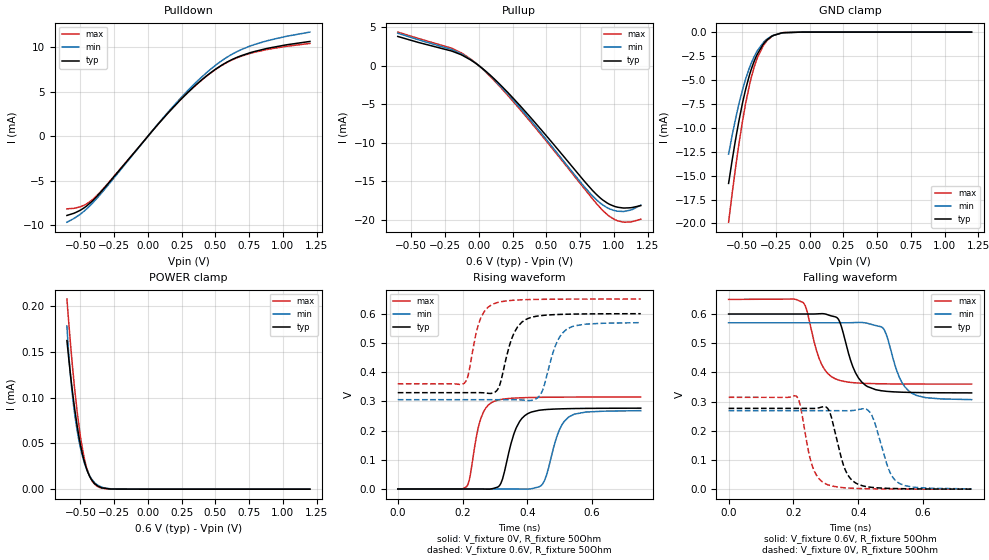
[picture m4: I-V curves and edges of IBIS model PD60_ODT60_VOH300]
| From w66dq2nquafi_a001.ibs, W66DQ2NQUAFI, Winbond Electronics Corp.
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[Model]   PD60_ODT60_VOH300
Model_type   I/O
Polarity   Non-Inverting
Enable   Active-Low
Vinl = 0.08
Vinh = 0.22
Vmeas = 0.15
Vref = 0
Cref = 0pF
Rref = 60
|   typ   min   max
C_comp   1.15pF   1.05pF   1.25pF
[Voltage Range]   0.6   0.57   0.65
[Temperature Range]   25   95   -40
[Pullup Reference]   0.6   0.57   0.65
[Pulldown Reference]   0   0   0
[Power Clamp Reference]   0.6   0.57   0.65
[GND Clamp Reference]   0   0   0
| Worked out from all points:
|   slope of the pulldown table from 0 to 0.09 V, typ, clamps not added: 56.1 ohm
|   slope of the pullup table from 0 to 0.09 V, typ, clamps not added: 67.8 ohm
|   GND clamp passes 1 mA (typ) near -0.33 V on its own axis
|   falling waveform, V_fixture 0.6V, R_fixture 50Ohm: 20-80 % time 48.4ps typ, 48.2ps min, 46ps max; typ from 0.6 V to 0.33 V
|   rising waveform, V_fixture 0V, R_fixture 50Ohm: 20-80 % time 43ps typ, 43.5ps min, 34.1ps max; typ from 0 V to 0.277 V
|   rising waveform, V_fixture 0.6V, R_fixture 50Ohm: 20-80 % time 43.6ps typ, 44.8ps min, 36.8ps max; typ from 0.33 V to 0.6 V
|   falling waveform, V_fixture 0V, R_fixture 50Ohm: 20-80 % time 41.8ps typ, 45ps min, 37.1ps max; typ from 0.277 V to 0 V
[Pulldown]
|   Voltage   I(typ)   I(min)   I(max)
-600mV    -8.908mA   -9.665mA   -8.165mA
-498.6mV  -8.298mA   -8.738mA   -7.921mA
-455.7mV  -7.864mA   -8.195mA   -7.621mA
-409.8mV  -7.258mA   -7.51mA    -7.12mA
-305.3mV  -5.522mA   -5.694mA   -5.466mA
158.1mV   2.764mA    2.861mA    2.758mA
337.3mV   5.513mA    5.77mA     5.495mA
505mV     7.574mA    8.022mA    7.543mA
624.4mV   8.624mA    9.226mA    8.582mA
762mV     9.405mA    10.16mA    9.326mA
897.6mV   9.91mA     10.78mA    9.786mA
1.2V      10.65mA    11.7mA     10.43mA
[GND Clamp]
|   Voltage   I(typ)   I(min)   I(max)
-600mV    -15.82mA   -12.76mA   -19.87mA
-545.4mV  -11mA      -8.879mA   -13.87mA
-498mV    -7.488mA   -6.099mA   -9.397mA
-473.9mV  -5.994mA   -4.918mA   -7.468mA
-433.6mV  -3.959mA   -3.311mA   -4.825mA
-410.2mV  -3.036mA   -2.567mA   -3.634mA
-388.1mV  -2.331mA   -1.975mA   -2.725mA
-343.9mV  -1.272mA   -1.111mA   -1.434mA
-282mV    -447.1uA   -427.6uA   -488.6uA
-196.3mV  -70.58uA   -79.58uA   -56.4uA
-59.4mV   -1.281uA   -3.101uA   -482.1nA
1.2V      0A         0A         0A
[Pullup]
|   Voltage   I(typ)   I(min)   I(max)
-600mV    3.769mA    4.193mA    4.335mA
-196.3mV  1.848mA    2.045mA    2.213mA
-59.4mV   721.3uA    770.3uA    841.8uA
70.89mV   -1.026mA   -1.082mA   -1.171mA
228.1mV   -3.726mA   -3.925mA   -4.118mA
443.4mV   -7.927mA   -8.351mA   -8.567mA
784.2mV   -15.03mA   -15.75mA   -16mA
896.8mV   -17.11mA   -17.77mA   -18.37mA
969.8mV   -17.99mA   -18.57mA   -19.56mA
1.028V    -18.35mA   -18.87mA   -20.11mA
1.124V    -18.42mA   -18.73mA   -20.26mA
1.2V      -18.15mA   -18.09mA   -19.91mA
[POWER Clamp]
|   Voltage   I(typ)   I(min)   I(max)
-600mV    162.4uA    178.3uA    207.7uA
-580.2mV  134uA      135.5uA    170.5uA
-564.1mV  112.9uA    109.1uA    142.7uA
-552.7mV  99.15uA    93.8uA     124.6uA
-524.8mV  69.72uA    64.21uA    85.05uA
-498.6mV  47.67uA    44.41uA    55.87uA
-474.6mV  32uA       30.6uA     35.75uA
-455.7mV  22.7uA     22.52uA    24.16uA
-433mV    14.43uA    15.11uA    14.4uA
-388.1mV  5.316uA    6.165uA    4.415uA
-265.9mV  132.2nA    296.5nA    17.34nA
1.2V      0A         0A         0A
[Ramp]
R_load = 50
|   typ   min   max
dV/dt_r 1.6598E-01/4.2480E-11   1.6087E-01/4.3460E-11   1.8882E-01/3.3676E-11
dV/dt_f 1.6214E-01/4.8351E-11   1.5797E-01/4.8225E-11   1.7410E-01/4.5867E-11
[Falling Waveform]
V_fixture = 0.6V
V_fixture_min = 0.57V
V_fixture_max = 0.65V
R_fixture = 50Ohm
C_fixture = 0F
|   Time   V(typ)   V(min)   V(max)
0s        600mV      570mV      650mV
230ps     600mV      570mV      639.2mV
287ps     601.2mV    570mV      427.8mV
331ps     589.7mV    570mV      377.3mV
401ps     380.6mV    571.2mV    363.5mV
471ps     337.2mV    556.2mV    360.9mV
488ps     335mV      525.9mV    360.7mV
527ps     332.5mV    383.2mV    360.3mV
555ps     331.6mV    337.4mV    360.1mV
750ps     329.8mV    306.7mV    359.8mV
[Rising Waveform]
V_fixture = 0V
V_fixture_min = 0V
V_fixture_max = 0V
R_fixture = 50Ohm
C_fixture = 0F
|   Time   V(typ)   V(min)   V(max)
0s        5.397uV    17.78uV    1.065uV
212ps     3.976uV    17.77uV    7.613mV
256ps     8.598uV    17.97uV    240.2mV
296ps     2.267mV    17.08uV    299.6mV
365ps     207.7mV    29.49uV    311.4mV
401ps     257.8mV    -357.9uV   312.8mV
447ps     270.8mV    17.25mV    313.8mV
493ps     273.9mV    186mV      314.3mV
528ps     275mV      246.6mV    314.5mV
750ps     276.6mV    268.1mV    314.7mV
[Rising Waveform]
V_fixture = 0.6V
V_fixture_min = 0.57V
V_fixture_max = 0.65V
R_fixture = 50Ohm
C_fixture = 0F
|   Time   V(typ)   V(min)   V(max)
0s        329.6mV    305.6mV    359.8mV
205ps     329.6mV    305.6mV    361.5mV
256ps     329.7mV    305.6mV    584.4mV
305ps     336mV      305.6mV    637.3mV
354ps     521.2mV    305.7mV    645.7mV
392ps     578.1mV    303.7mV    647.9mV
441ps     593.2mV    323.7mV    649.1mV
487ps     596.9mV    491.6mV    649.6mV
520ps     598.1mV    545.5mV    649.8mV
750ps     599.9mV    569.3mV    650mV
[Falling Waveform]
|Gnd
V_fixture = 0V
V_fixture_min = 0V
V_fixture_max = 0V
R_fixture = 50Ohm
C_fixture = 0F
|   Time   V(typ)   V(min)   V(max)
0s        276.7mV    268.9mV    314.7mV
209ps     276.7mV    268.9mV    319.1mV
260ps     276.5mV    268.9mV    74.47mV
305ps     277.5mV    268.9mV    15.45mV
359ps     68.83mV    268.7mV    4.602mV
392ps     21.18mV    270.8mV    2.617mV
441ps     6.278mV    255mV      1.227mV
493ps     2.785mV    70.94mV    519.7uV
520ps     1.968mV    24.86mV    338.6uV
750ps     104.2uV    855.8uV    -15.51uV
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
